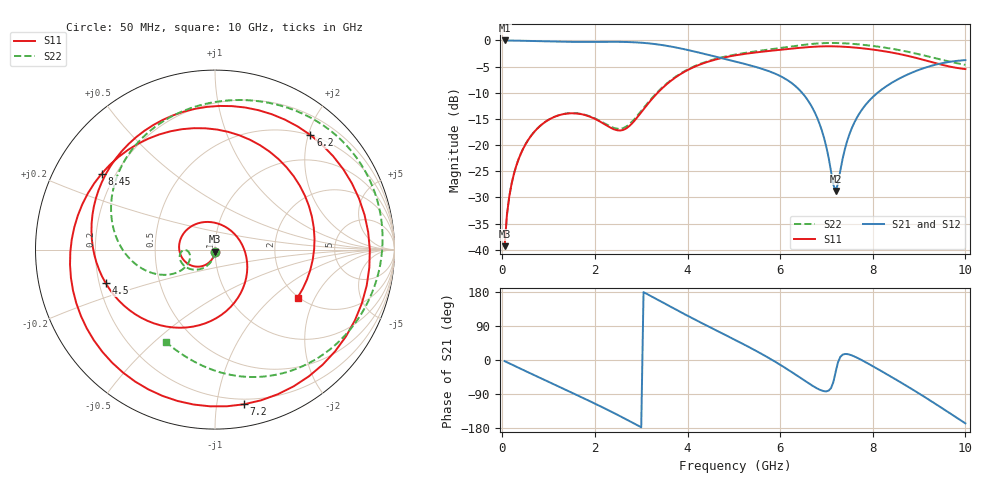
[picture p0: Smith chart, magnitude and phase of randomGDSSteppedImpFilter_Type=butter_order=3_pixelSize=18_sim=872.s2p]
! freq	dB(S11)	phase(S11)	dB(S12)	phase(S12)
!  dB(S21)	phase(S21)	dB(S22)	phase(S22)
!S-par simulation data
#  GHz  S  DB  R 50
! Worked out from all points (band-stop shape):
!   200 points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, 50 MHz to 10 GHz, reference 50 ohm
!   highest |S21| = -0.01 dB at 50 MHz (marker M1); lowest = -28.7 dB at 7.2 GHz (marker M2)
!   |S21| within 3 dB of the highest: start of sweep to 4.564 GHz
!   lowest |S11| = -39.3 dB at 50 MHz (marker M3), VSWR 1.02, Z = 49.9 - j1.08 ohm
!   |S11| at or under -10 dB: start of sweep to 3.355 GHz
!   |S22| runs from -39.3 to -0.5 dB; largest |S21 - S12| = 0
!   S11 on the Smith chart (normalised r, x): 50 MHz: 1.00, -0.02; 4.5 GHz: 0.23, -0.14; 6.2 GHz: 0.49, +2.03; 7.2 GHz: 0.16, -1.19; 8.45 GHz: 0.15, +0.30; 10 GHz: 1.98, -1.47
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0.05  -39.31 -92.7  -0.01 -3.0  -0.01 -3.0  -39.31 -92.1
0.2  -27.42 -102.7  -0.03 -11.7  -0.03 -11.7  -27.41 -100.5
0.5  -19.87 -122.4  -0.09 -29.1  -0.09 -29.1  -19.86 -116.6
1.15  -14.52 -164.9  -0.24 -66.3  -0.24 -66.3  -14.51 -148.7
1.75  -14.18 150.5  -0.29 -100.5  -0.29 -100.5  -14.13 -172.4
2.7  -16.67 20.0  -0.30 -158.1  -0.30 -158.1  -16.32 -157.9
3.4  -9.60 -74.8  -0.82 156.0  -0.82 156.0  -9.45 -155.6
3.95  -5.91 -122.0  -1.72 120.0  -1.72 120.0  -5.80 -179.6
4.5  -3.91 -163.0  -2.87 85.5  -2.87 85.5  -3.80 152.9
5.05  -2.83 156.8  -4.08 51.6  -4.08 51.6  -2.67 125.6
5.75  -2.02 98.0  -5.86 5.7  -5.86 5.7  -1.75 91.9
6.2  -1.61 50.3  -7.84 -27.9  -7.84 -27.9  -1.20 70.1
6.7  -1.22 -13.4  -12.94 -68.1  -12.94 -68.1  -0.66 44.0
7.2  -1.14 -79.4  -28.75 -30.7  -28.75 -30.7  -0.49 16.4
7.45  -1.25 -109.7  -19.14 15.6  -19.14 15.6  -0.59 2.7
7.8  -1.53 -148.4  -12.82 -2.8  -12.82 -2.8  -0.85 -15.8
8.35  -2.22 156.1  -8.43 -40.9  -8.43 -40.9  -1.50 -43.5
8.45  -2.38 146.2  -7.89 -48.0  -7.89 -48.0  -1.65 -48.4
8.8  -3.05 110.6  -6.32 -73.4  -6.32 -73.4  -2.25 -65.1
9.1  -3.73 78.0  -5.30 -96.1  -5.30 -96.1  -2.86 -78.8
9.55  -4.78 24.8  -4.26 -131.3  -4.26 -131.3  -3.84 -98.2
10  -5.48 -30.1  -3.76 -167.2  -3.76 -167.2  -4.68 -117.8
